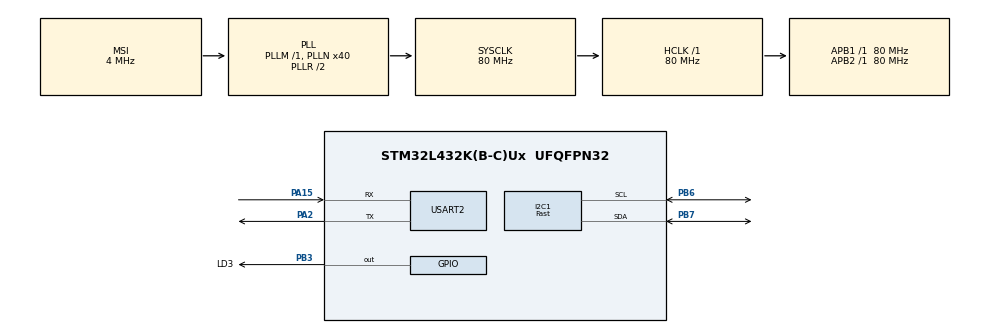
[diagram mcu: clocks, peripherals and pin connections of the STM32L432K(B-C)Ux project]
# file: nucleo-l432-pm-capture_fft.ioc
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I2C1.I2C_Speed_Mode=I2C_Fast
I2C1.Timing=0x00F12981
Mcu.Family=STM32L4
Mcu.Name=STM32L432K(B-C)Ux
Mcu.Package=UFQFPN32
NVIC.PriorityGroup=NVIC_PRIORITYGROUP_4
PA13\ (JTMS-SWDIO).Mode=Serial_Wire
PA13\ (JTMS-SWDIO).Signal=SYS_JTMS-SWDIO
PA14\ (JTCK-SWCLK).Mode=Serial_Wire
PA14\ (JTCK-SWCLK).Signal=SYS_JTCK-SWCLK
PA15\ (JTDI).Mode=Asynchronous
PA15\ (JTDI).Signal=USART2_RX
PA2.Mode=Asynchronous
PA2.Signal=USART2_TX
PB3\ (JTDO-TRACESWO).GPIO_Label=LD3
PB3\ (JTDO-TRACESWO).Signal=GPIO_Output
PB6.GPIO_Pu=GPIO_NOPULL
PB6.Mode=I2C
PB6.Signal=I2C1_SCL
PB7.GPIO_Pu=GPIO_NOPULL
PB7.Mode=I2C
PB7.Signal=I2C1_SDA
PC14-OSC32_IN\ (PC14).Mode=LSE-External-Oscillator
PC14-OSC32_IN\ (PC14).Signal=RCC_OSC32_IN
PC15-OSC32_OUT\ (PC15).Mode=LSE-External-Oscillator
PC15-OSC32_OUT\ (PC15).Signal=RCC_OSC32_OUT
ProjectManager.HeapSize=0x200
ProjectManager.StackSize=0x400
ProjectManager.TargetToolchain=Makefile
RCC.AHBFreq_Value=80000000
RCC.APB1Freq_Value=80000000
RCC.APB1TimFreq_Value=80000000
RCC.APB2Freq_Value=80000000
RCC.APB2TimFreq_Value=80000000
RCC.CortexFreq_Value=80000000
RCC.HCLKFreq_Value=80000000
RCC.HSE_VALUE=8000000
RCC.HSI48_VALUE=48000000
RCC.HSI_VALUE=16000000
RCC.MSI_VALUE=4000000
RCC.PLLN=40
RCC.SYSCLKFreq_VALUE=80000000
RCC.SYSCLKSource=RCC_SYSCLKSOURCE_PLLCLK
RCC.VCOOutputFreq_Value=160000000
USART2.VirtualMode-Asynchronous=VM_ASYNC
board=custom

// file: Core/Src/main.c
/* USER CODE BEGIN Header */
/**
  ******************************************************************************
  * @file           : main.c
  * @brief          : Main program body
  ******************************************************************************
  * @attention
  *
  * Copyright (c) 2025 STMicroelectronics.
  * All rights reserved.
  *
  * This software is licensed under terms that can be found in the LICENSE file
  * in the root directory of this software component.
  * If no LICENSE file comes with this software, it is provided AS-IS.
  *
  ******************************************************************************
  */
/* USER CODE END Header */
#include "main.h"

/* USER CODE BEGIN Includes */
#include <stdio.h>
#include "lis3dh_driver.h"

/* USER CODE END Includes */

/* USER CODE BEGIN PD */

#define BUFFER_LENGTH       256
#define BUFFER_LENGTH_HALF  (BUFFER_LENGTH/2)
#define SAMPLING_RATE       1620

/* USER CODE END PD */

I2C_HandleTypeDef hi2c1;

UART_HandleTypeDef huart2;

void SystemClock_Config(void);
static void MX_GPIO_Init(void);
static void MX_USART2_UART_Init(void);
static void MX_I2C1_Init(void);
/* USER CODE BEGIN PFP */

static void LIS3DH_Init(void);
/* USER CODE END PFP */

int main(void)
{

  /* USER CODE BEGIN 1 */
  uint8_t i2c_val;

  AxesRaw_t acc;

  float32_t input[BUFFER_LENGTH];
  float32_t fft_output[BUFFER_LENGTH];
  float32_t fft_power[BUFFER_LENGTH_HALF];

  float32_t freqResolution = (float32_t)SAMPLING_RATE/(float32_t)BUFFER_LENGTH;

  float32_t meanValue = 0.0;              // mean value
  float32_t maxValue  = 0.0;              // max value
  uint32_t  maxIndex;                     // max value index

  uint16_t samplesRead = 0;               // counter for input samples
  uint16_t i;

  arm_status                 status;      // fft status
  arm_rfft_fast_instance_f32 fft;         // fft instance

  /* USER CODE END 1 */

  /* MCU Configuration--------------------------------------------------------*/

  /* Reset of all peripherals, Initializes the Flash interface and the Systick. */
  HAL_Init();

  /* Configure the system clock */
  SystemClock_Config();

  /* Initialize all configured peripherals */
  MX_GPIO_Init();
  MX_USART2_UART_Init();
  MX_I2C1_Init();
  /* USER CODE BEGIN 2 */

  HAL_Delay(3);
  printf("STM32 Predictive Maintenance Demo: Inference\r\n");

  LIS3DH_Init();

  status = arm_rfft_fast_init_f32(&fft, BUFFER_LENGTH);

  if (status != ARM_MATH_SUCCESS) {
    printf("FFT error: %d\r\n", status);
  }

  /* USER CODE END 2 */

  /* Infinite loop */
  while (1)
  {

    /* USER CODE BEGIN 3 */

    // acquire data
    if (samplesRead < BUFFER_LENGTH) {

      // read LIS3DH status register
	    LIS3DH_GetStatusReg(&i2c_val);

      // check if new data is available
	    if (i2c_val & LIS3DH_STATUS_REG_ZYXDA) {

        // get new accelerator data
	      LIS3DH_GetAccAxesRaw(&acc);

        // store new value in buffer
        input[samplesRead] = (float32_t)acc.AXIS_X*SENSITIVITY_2G;

        // increase sample counter
        samplesRead++;
      }
    }

    // process buffer
    else {

      // calc mean value of input buffer
      arm_mean_f32(input, BUFFER_LENGTH, &meanValue);

      // subtract mean value from each input (=de-meaning)
      for (i=0; i<BUFFER_LENGTH; i++) {
        input[i] = input[i]-meanValue;
      }

      // do fast fourier transform
      arm_rfft_fast_f32(&fft, input, fft_output, 0);                      // calc fft values
      arm_cmplx_mag_f32(fft_output, fft_power, BUFFER_LENGTH_HALF);

      // normalize spectrum for inference
      arm_max_f32(fft_power, BUFFER_LENGTH_HALF, &maxValue, &maxIndex);   // find max value in array

      for (i=0; i<BUFFER_LENGTH_HALF; i++) {
        fft_power[i] = fft_power[i]/maxValue;                             // normalize output values
      }

      // for debug output and use with notebook/fftPlot.py
      for (i=1; i<BUFFER_LENGTH_HALF; i++) {
        printf("%i,%.1f,%.6f\r\n", i, i*freqResolution, fft_power[i]);
      }

      // start inference

      // clear sample counter and start all over again
      samplesRead = 0;
    }

  }
  /* USER CODE END 3 */
}

void SystemClock_Config(void)
{
  RCC_OscInitTypeDef RCC_OscInitStruct = {0};
  RCC_ClkInitTypeDef RCC_ClkInitStruct = {0};

  /** Configure the main internal regulator output voltage
  */
  if (HAL_PWREx_ControlVoltageScaling(PWR_REGULATOR_VOLTAGE_SCALE1) != HAL_OK)
  {
    Error_Handler();
  }

  /** Configure LSE Drive Capability
  */
  HAL_PWR_EnableBkUpAccess();
  __HAL_RCC_LSEDRIVE_CONFIG(RCC_LSEDRIVE_LOW);

  /** Initializes the RCC Oscillators according to the specified parameters
  * in the RCC_OscInitTypeDef structure.
  */
  RCC_OscInitStruct.OscillatorType = RCC_OSCILLATORTYPE_LSE|RCC_OSCILLATORTYPE_MSI;
  RCC_OscInitStruct.LSEState = RCC_LSE_ON;
  RCC_OscInitStruct.MSIState = RCC_MSI_ON;
  RCC_OscInitStruct.MSICalibrationValue = 0;
  RCC_OscInitStruct.MSIClockRange = RCC_MSIRANGE_6;
  RCC_OscInitStruct.PLL.PLLState = RCC_PLL_ON;
  RCC_OscInitStruct.PLL.PLLSource = RCC_PLLSOURCE_MSI;
  RCC_OscInitStruct.PLL.PLLM = 1;
  RCC_OscInitStruct.PLL.PLLN = 40;
  RCC_OscInitStruct.PLL.PLLP = RCC_PLLP_DIV7;
  RCC_OscInitStruct.PLL.PLLQ = RCC_PLLQ_DIV2;
  RCC_OscInitStruct.PLL.PLLR = RCC_PLLR_DIV2;
  if (HAL_RCC_OscConfig(&RCC_OscInitStruct) != HAL_OK)
  {
    Error_Handler();
  }

  /** Initializes the CPU, AHB and APB buses clocks
  */
  RCC_ClkInitStruct.ClockType = RCC_CLOCKTYPE_HCLK|RCC_CLOCKTYPE_SYSCLK
                              |RCC_CLOCKTYPE_PCLK1|RCC_CLOCKTYPE_PCLK2;
  RCC_ClkInitStruct.SYSCLKSource = RCC_SYSCLKSOURCE_PLLCLK;
  RCC_ClkInitStruct.AHBCLKDivider = RCC_SYSCLK_DIV1;
  RCC_ClkInitStruct.APB1CLKDivider = RCC_HCLK_DIV1;
  RCC_ClkInitStruct.APB2CLKDivider = RCC_HCLK_DIV1;

  if (HAL_RCC_ClockConfig(&RCC_ClkInitStruct, FLASH_LATENCY_4) != HAL_OK)
  {
    Error_Handler();
  }

  /** Enable MSI Auto calibration
  */
  HAL_RCCEx_EnableMSIPLLMode();
}

static void MX_I2C1_Init(void)
{

  hi2c1.Instance = I2C1;
  hi2c1.Init.Timing = 0x00F12981;
  hi2c1.Init.OwnAddress1 = 0;
  hi2c1.Init.AddressingMode = I2C_ADDRESSINGMODE_7BIT;
  hi2c1.Init.DualAddressMode = I2C_DUALADDRESS_DISABLE;
  hi2c1.Init.OwnAddress2 = 0;
  hi2c1.Init.OwnAddress2Masks = I2C_OA2_NOMASK;
  hi2c1.Init.GeneralCallMode = I2C_GENERALCALL_DISABLE;
  hi2c1.Init.NoStretchMode = I2C_NOSTRETCH_DISABLE;
  if (HAL_I2C_Init(&hi2c1) != HAL_OK)
  {
    Error_Handler();
  }

  /** Configure Analogue filter
  */
  if (HAL_I2CEx_ConfigAnalogFilter(&hi2c1, I2C_ANALOGFILTER_ENABLE) != HAL_OK)
  {
    Error_Handler();
  }

  /** Configure Digital filter
  */
  if (HAL_I2CEx_ConfigDigitalFilter(&hi2c1, 0) != HAL_OK)
  {
    Error_Handler();
  }

}

static void MX_USART2_UART_Init(void)
{

  huart2.Instance = USART2;
  huart2.Init.BaudRate = 115200;
  huart2.Init.WordLength = UART_WORDLENGTH_8B;
  huart2.Init.StopBits = UART_STOPBITS_1;
  huart2.Init.Parity = UART_PARITY_NONE;
  huart2.Init.Mode = UART_MODE_TX_RX;
  huart2.Init.HwFlowCtl = UART_HWCONTROL_NONE;
  huart2.Init.OverSampling = UART_OVERSAMPLING_16;
  huart2.Init.OneBitSampling = UART_ONE_BIT_SAMPLE_DISABLE;
  huart2.AdvancedInit.AdvFeatureInit = UART_ADVFEATURE_NO_INIT;
  if (HAL_UART_Init(&huart2) != HAL_OK)
  {
    Error_Handler();
  }

}

static void MX_GPIO_Init(void)
{
  GPIO_InitTypeDef GPIO_InitStruct = {0};

  /* GPIO Ports Clock Enable */
  __HAL_RCC_GPIOC_CLK_ENABLE();
  __HAL_RCC_GPIOA_CLK_ENABLE();
  __HAL_RCC_GPIOB_CLK_ENABLE();

  /*Configure GPIO pin Output Level */
  HAL_GPIO_WritePin(LD3_GPIO_Port, LD3_Pin, GPIO_PIN_RESET);

  /*Configure GPIO pin : LD3_Pin */
  GPIO_InitStruct.Pin = LD3_Pin;
  GPIO_InitStruct.Mode = GPIO_MODE_OUTPUT_PP;
  GPIO_InitStruct.Pull = GPIO_NOPULL;
  GPIO_InitStruct.Speed = GPIO_SPEED_FREQ_LOW;
  HAL_GPIO_Init(LD3_GPIO_Port, &GPIO_InitStruct);

}

/* USER CODE BEGIN 4 */

static void LIS3DH_Init(void) {

  uint8_t resp;
  uint8_t id;

  resp = LIS3DH_GetWHO_AM_I(&id);

  if (resp != MEMS_SUCCESS) {
    printf("Error communicating with LIS3DH\r\n");
    Error_Handler();
  }

  if (id != DEVICE_ID_LIS3DH) {
	printf("Unable to find LIS3DH IMU\r\n");
	Error_Handler();
  } else {
	printf("Found LIS3DH IMU sensor\r\n");
  }

  // setup LIS3DH sensor
  LIS3DH_SetODR(LIS3DH_ODR_1620Hz_LP);                                    // set output data rate to 1.62kHz
  LIS3DH_SetMode(LIS3DH_NORMAL);
  LIS3DH_SetFullScale(LIS3DH_FULLSCALE_2);	                              // set acc to -2...+2 G
  LIS3DH_SetAxis(LIS3DH_X_ENABLE | LIS3DH_Y_ENABLE | LIS3DH_Z_ENABLE);    // enable sensor
}

int _write(int fd, char * ptr, int len) {

  HAL_UART_Transmit(&huart2, (uint8_t *) ptr, len, HAL_MAX_DELAY);
  return len;
}

/* USER CODE END 4 */

void Error_Handler(void)
{
  __disable_irq();
  while (1)
  {
  }
}
